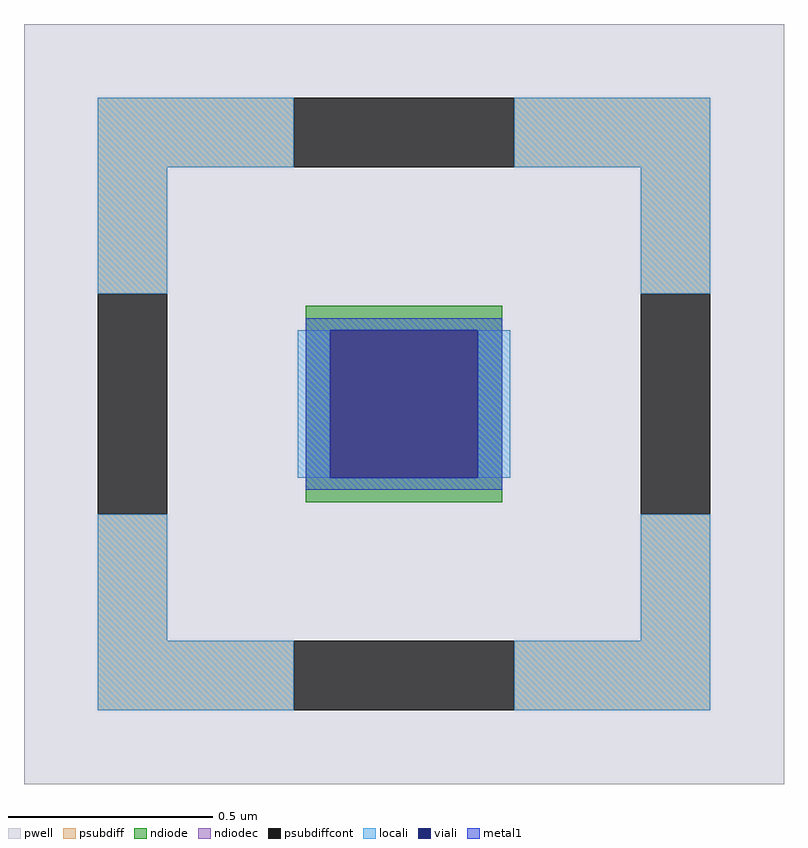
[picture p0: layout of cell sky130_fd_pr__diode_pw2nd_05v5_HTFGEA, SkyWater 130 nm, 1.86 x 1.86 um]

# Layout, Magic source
magic
tech sky130A
<< pwell >>
rect -93 -93 93 93
<< psubdiff >>
rect -75 58 -27 75
rect 27 58 75 75
rect -75 27 -58 58
rect 58 27 75 58
rect -75 -58 -58 -27
rect 58 -58 75 -27
rect -75 -75 -27 -58
rect 27 -75 75 -58
<< psubdiffcont >>
rect -27 58 27 75
rect -75 -27 -58 27
rect 58 -27 75 27
rect -27 -75 27 -58
<< ndiode >>
rect -24 18 24 24
rect -24 -18 -18 18
rect 18 -18 24 18
rect -24 -24 24 -18
<< ndiodec >>
rect -18 -18 18 18
<< locali >>
rect -75 58 -27 75
rect 27 58 75 75
rect -75 27 -58 58
rect 58 27 75 58
rect -26 -18 -18 18
rect 18 -18 26 18
rect -75 -58 -58 -27
rect 58 -58 75 -27
rect -75 -75 -27 -58
rect 27 -75 75 -58
<< viali >>
rect -18 -18 18 18
<< metal1 >>
rect -24 18 24 21
rect -24 -18 -18 18
rect 18 -18 24 18
rect -24 -21 24 -18
<< properties >>
string FIXED_BBOX -66 -66 66 66
string gencell sky130_fd_pr__diode_pw2nd_05v5
string library sky130
string parameters w 0.48 l 0.48 area 230.399m peri 1.92 nx 1 ny 1 dummy 0 lmin 0.45 wmin 0.45 elc 1 erc 1 etc 1 ebc 1 doverlap 0 compatible {sky130_fd_pr__diode_pw2nd_05v5 sky130_fd_pr__diode_pw2nd_05v5_lvt  sky130_fd_pr__diode_pw2nd_05v5_nvt sky130_fd_pr__diode_pw2nd_11v0} full_metal 1 vias 1 viagb 0 viagt 0 viagl 0 viagr 0
<< end >>
